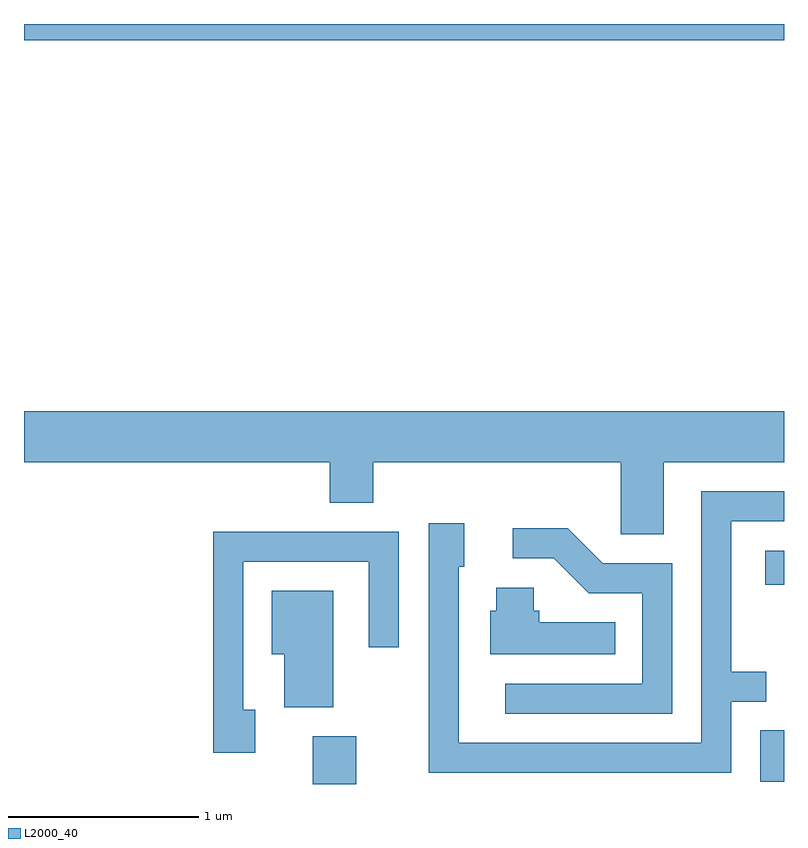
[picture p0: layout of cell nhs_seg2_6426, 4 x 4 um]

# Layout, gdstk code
import gdstk
lib = gdstk.Library(unit=1e-6, precision=1e-09)
def R(c, l, rs):  # rectangles x0, y0, x1, y1
    for r in rs: c.add(gdstk.rectangle(r[:2], r[2:], *l))
def P(c, l, *ps):  # polygons
    for p in ps: c.add(gdstk.Polygon(p, *l))
L2000_40 = (2000, 40)

nhs_seg2_6426 = lib.new_cell('nhs_seg2_6426')
R(nhs_seg2_6426, L2000_40, [(377.131,977.802,377.359,978.054), (379.486,977.813,379.611,978.084), (379.511,978.851,379.611,979.029), (375.611,981.716,379.611,981.802)])
P(nhs_seg2_6426, L2000_40, [(378.979,979.496),(379.611,979.496),(379.611,979.764),(375.611,979.764),(375.611,979.496),(377.221,979.496),(377.221,979.281),(377.449,979.281),(377.449,979.496),(378.751,979.496),(378.751,979.116),(378.979,979.116)],
  [(379.334,978.236),(379.518,978.236),(379.518,978.394),(379.334,978.394),(379.334,979.186),(379.611,979.186),(379.611,979.344),(379.176,979.344),(379.176,978.019),(377.899,978.019),(377.899,978.946),(377.929,978.946),(377.929,979.174),(377.741,979.174),(377.741,977.861),(379.334,977.861)],
  [(379.024,978.964),(378.657,978.964),(378.472,979.149),(378.183,979.149),(378.183,978.991),(378.399,978.991),(378.584,978.806),(378.866,978.806),(378.866,978.329),(378.143,978.329),(378.143,978.171),(379.024,978.171)],
  [(376.829,978.194),(376.764,978.194),(376.764,978.971),(377.426,978.971),(377.426,978.523),(377.584,978.523),(377.584,979.129),(376.606,979.129),(376.606,977.966),(376.829,977.966)],
  [(378.723,978.654),(378.324,978.654),(378.324,978.714),(378.294,978.714),(378.294,978.834),(378.096,978.834),(378.096,978.714),(378.066,978.714),(378.066,978.486),(378.723,978.486)],
  [(377.239,978.819),(376.916,978.819),(376.916,978.486),(376.981,978.486),(376.981,978.206),(377.239,978.206)])

lib.write_gds('nhs_seg2_6426.gds')
